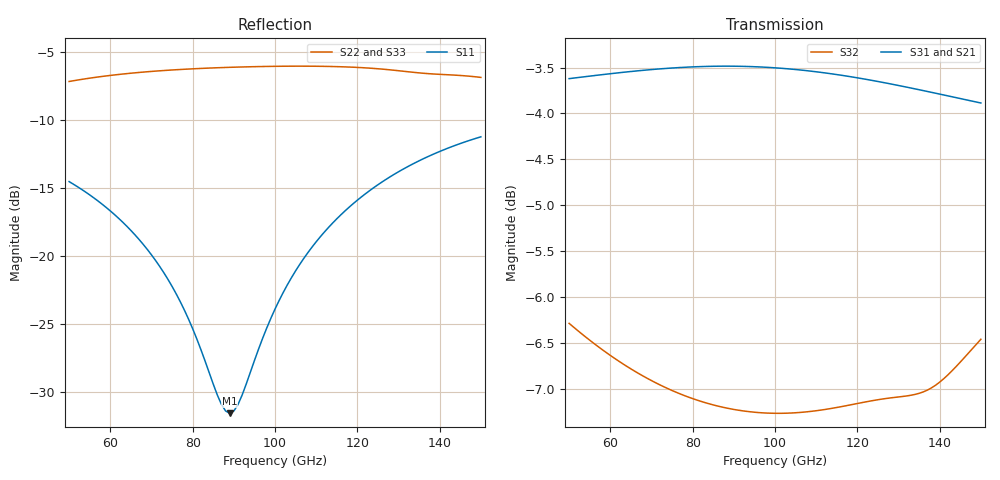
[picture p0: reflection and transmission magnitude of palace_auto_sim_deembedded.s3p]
! Created with skrf 1.11.0 (http://scikit-rf.org).
# GHz S DB R 50.0
!freq dBS11 angS11 dBS12 angS12 dBS13 angS13
! dBS21 angS21 dBS22 angS22 dBS23 angS23
! dBS31 angS31 dBS32 angS32 dBS33 angS33
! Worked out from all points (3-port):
!   101 points, 50 GHz to 150 GHz, reference 50 ohm
!   strongest paths, dB at 50 GHz, 75 GHz, 100 GHz, 125 GHz, 150 GHz:
!     S31: -3.6, -3.5, -3.5, -3.7, -3.9
!     S21: -3.6, -3.5, -3.5, -3.7, -3.9
!     S32: -6.3, -7.0, -7.3, -7.1, -6.5
!   lowest |S11| = -31.5 dB at 89 GHz (marker M1), VSWR 1.05, Z = 52.6 + j0.67 ohm
!   |S11| at or under -10 dB: start of sweep to end of sweep
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50  -14.52 130.8  -3.63 -44.2  -3.62 -44.2
    -3.63 -44.2  -7.16 47.0  -6.29 -100.5
    -3.62 -44.2  -6.29 -100.5  -7.18 47.0
71  -20.31 104.2  -3.53 -63.6  -3.52 -63.6
    -3.53 -63.6  -6.40 22.3  -6.93 -136.3
    -3.52 -63.6  -6.93 -136.3  -6.42 22.2
78  -23.95 89.1  -3.51 -70.1  -3.50 -70.2
    -3.51 -70.1  -6.27 15.4  -7.07 -147.9
    -3.50 -70.2  -7.07 -147.9  -6.28 15.3
87  -30.88 37.4  -3.50 -78.6  -3.49 -78.7
    -3.50 -78.6  -6.14 6.9  -7.19 -162.8
    -3.49 -78.7  -7.19 -162.8  -6.16 6.8
89  -31.53 13.9  -3.50 -80.5  -3.49 -80.6
    -3.50 -80.5  -6.12 5.1  -7.21 -166.0
    -3.49 -80.6  -7.21 -166.0  -6.14 5.0
92  -30.20 -19.9  -3.50 -83.4  -3.49 -83.4
    -3.50 -83.4  -6.10 2.4  -7.24 -171.0
    -3.49 -83.4  -7.24 -171.0  -6.12 2.3
100  -23.88 -61.9  -3.51 -91.0  -3.50 -91.0
     -3.51 -91.0  -6.05 -4.8  -7.26 175.9
     -3.50 -91.0  -7.26 175.9  -6.07 -4.9
109  -19.32 -80.3  -3.55 -99.5  -3.54 -99.6
     -3.55 -99.5  -6.04 -13.0  -7.24 161.0
     -3.54 -99.6  -7.24 161.0  -6.06 -13.2
120  -15.88 -94.9  -3.62 -109.8  -3.61 -109.9
     -3.62 -109.8  -6.13 -23.5  -7.16 142.6
     -3.61 -109.9  -7.16 142.6  -6.15 -23.7
150  -11.23 -125.0  -3.90 -137.1  -3.89 -137.3
     -3.90 -137.1  -6.86 -56.0  -6.46 92.9
     -3.89 -137.3  -6.46 92.9  -6.89 -56.2
